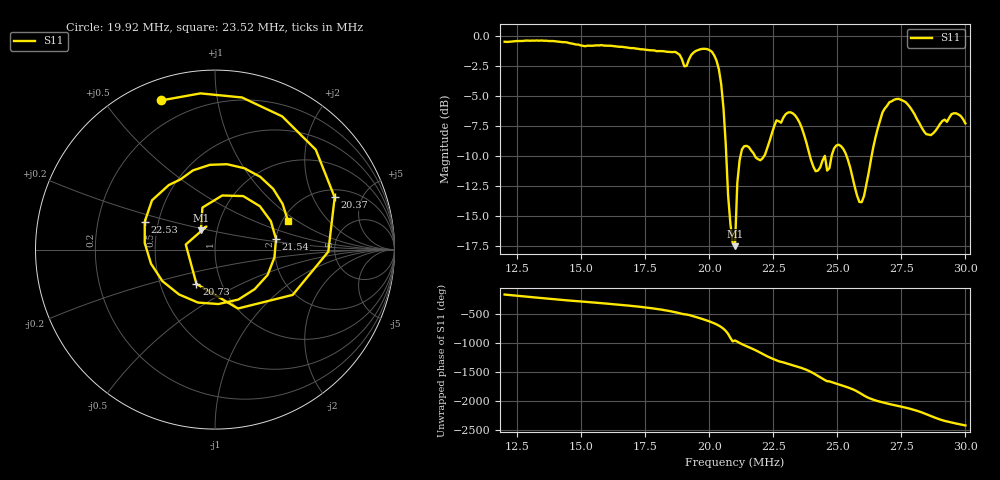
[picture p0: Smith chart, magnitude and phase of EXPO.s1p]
!Keysight Technologies N9916A: A.13.10
!Date: Thursday, 20 November 2025 13:15:58
!TimeZone: (UTC-06:00) Central Time (US & Canada)!Model: N9916A
!Serial: MY57273160
!GPS Latitude:
!GPS Longitude:
!GPS TimeStamp: 0001-01-01 00:00:00Z
!GPS Seconds Since Last Read: 0
!CHECKSUM:1961630093
!Correction: S11(ON U)
!S1P File: Measurement: S11:
# Hz S DB R 50
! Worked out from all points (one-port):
!   201 points, 12 MHz to 30 MHz, reference 50 ohm
!   lowest |S11| = -17.5 dB at 21 MHz (marker M1), VSWR 1.31, Z = 41.8 + j9.16 ohm
!   |S11| at or under -10 dB: 20.66 MHz to 21.21 MHz (554 kHz wide, 2.65 % of centre); 23.93 MHz to 24.5 MHz (575.6 kHz wide, 2.38 % of centre); 25.36 MHz to 26.34 MHz (977.1 kHz wide, 3.78 % of centre)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
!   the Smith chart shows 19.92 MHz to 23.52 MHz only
!   S11 on the Smith chart (normalised r, x): 19.92 MHz: 0.09, +0.70; 20.37 MHz: 2.40, +2.97; 20.73 MHz: 0.76, -0.30; 21.54 MHz: 2.01, +0.27; 22.53 MHz: 0.42, +0.16; 23.52 MHz: 2.14, +0.84
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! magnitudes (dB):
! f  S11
! 12 MHz  -0.5
! 14.25 MHz  -0.5
! 16.5 MHz  -0.9
! 18.75 MHz  -1.4
! 19.02 MHz  -2.5
! 19.92 MHz  -1.1
! 20.37 MHz  -2.8
! 20.55 MHz  -6.0
! 20.73 MHz  -13.3
! 20.91 MHz  -17.3
! 21 MHz  -17.5
! 21.09 MHz  -12.2
! 21.18 MHz  -10.3
! 21.54 MHz  -9.2
! 21.99 MHz  -10.3
! 22.53 MHz  -7.5
! 23.25 MHz  -6.4
! 23.52 MHz  -7.2
! 24.15 MHz  -11.3
! 24.69 MHz  -11.0
! 25.05 MHz  -9.0
! 25.5 MHz  -11.0
! 25.95 MHz  -13.8
! 26.76 MHz  -6.4
! 27.75 MHz  -5.7
! 28.47 MHz  -8.2
! 29.55 MHz  -6.4
! 30 MHz  -7.3
